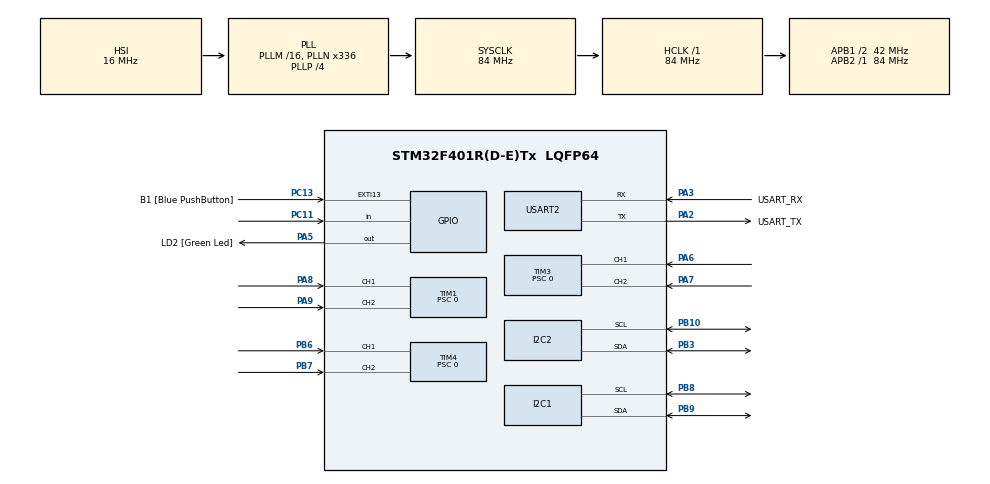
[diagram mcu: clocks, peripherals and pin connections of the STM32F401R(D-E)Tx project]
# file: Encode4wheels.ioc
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Mcu.Family=STM32F4
Mcu.Name=STM32F401R(D-E)Tx
Mcu.Package=LQFP64
NVIC.PriorityGroup=NVIC_PRIORITYGROUP_0
NVIC.TIM1_CC_IRQn=true\:0\:0\:false\:false\:true\:true\:true\:true
NVIC.TIM3_IRQn=true\:0\:0\:false\:false\:true\:true\:true\:true
NVIC.TIM4_IRQn=true\:0\:0\:false\:false\:true\:true\:true\:true
PA0-WKUP.Signal=S_TIM2_CH1_ETR
PA1.Signal=S_TIM2_CH2
PA13.GPIO_Label=TMS
PA13.Mode=Serial_Wire
PA13.Signal=SYS_JTMS-SWDIO
PA14.GPIO_Label=TCK
PA14.Mode=Serial_Wire
PA14.Signal=SYS_JTCK-SWCLK
PA2.GPIO_Label=USART_TX
PA2.GPIO_Mode=GPIO_MODE_AF_PP
PA2.GPIO_PuPd=GPIO_NOPULL
PA2.GPIO_Speed=GPIO_SPEED_FREQ_LOW
PA2.Mode=Asynchronous
PA2.Signal=USART2_TX
PA3.GPIO_Label=USART_RX
PA3.GPIO_Mode=GPIO_MODE_AF_PP
PA3.GPIO_PuPd=GPIO_NOPULL
PA3.GPIO_Speed=GPIO_SPEED_FREQ_LOW
PA3.Mode=Asynchronous
PA3.Signal=USART2_RX
PA5.GPIO_Label=LD2 [Green Led]
PA5.GPIO_Mode=GPIO_MODE_OUTPUT_PP
PA5.GPIO_PuPd=GPIO_NOPULL
PA5.GPIO_Speed=GPIO_SPEED_FREQ_LOW
PA5.Signal=GPIO_Output
PA6.Signal=S_TIM3_CH1
PA7.Signal=S_TIM3_CH2
PA8.Signal=S_TIM1_CH1
PA9.Signal=S_TIM1_CH2
PB10.GPIO_Pu=GPIO_PULLUP
PB10.Mode=I2C
PB10.Signal=I2C2_SCL
PB3.GPIO_Pu=GPIO_PULLUP
PB3.Mode=I2C
PB3.Signal=I2C2_SDA
PB6.Signal=S_TIM4_CH1
PB7.Signal=S_TIM4_CH2
PB8.GPIO_Pu=GPIO_NOPULL
PB8.Mode=I2C
PB8.Signal=I2C1_SCL
PB9.GPIO_Pu=GPIO_PULLUP
PB9.Mode=I2C
PB9.Signal=I2C1_SDA
PC11.Signal=GPIO_Input
PC13-ANTI_TAMP.GPIO_Label=B1 [Blue PushButton]
PC13-ANTI_TAMP.GPIO_ModeDefaultEXTI=GPIO_MODE_IT_FALLING
PC13-ANTI_TAMP.GPIO_PuPd=GPIO_NOPULL
PC13-ANTI_TAMP.Signal=GPXTI13
PC14-OSC32_IN.Mode=LSE-External-Oscillator
PC14-OSC32_IN.Signal=RCC_OSC32_IN
PC15-OSC32_OUT.Mode=LSE-External-Oscillator
PC15-OSC32_OUT.Signal=RCC_OSC32_OUT
PH0\ -\ OSC_IN.Mode=HSE-External-Clock-Source
PH0\ -\ OSC_IN.Signal=RCC_OSC_IN
PH1\ -\ OSC_OUT.Mode=HSE-External-Clock-Source
PH1\ -\ OSC_OUT.Signal=RCC_OSC_OUT
ProjectManager.HeapSize=0x200
ProjectManager.StackSize=0x400
ProjectManager.TargetToolchain=STM32CubeIDE
RCC.48MHZClocksFreq_Value=48000000
RCC.AHBFreq_Value=84000000
RCC.APB1CLKDivider=RCC_HCLK_DIV2
RCC.APB1Freq_Value=42000000
RCC.APB1TimFreq_Value=84000000
RCC.APB2Freq_Value=84000000
RCC.APB2TimFreq_Value=84000000
RCC.CortexFreq_Value=84000000
RCC.HCLKFreq_Value=84000000
RCC.HSE_VALUE=8000000
RCC.HSI_VALUE=16000000
RCC.PLLN=336
RCC.PLLP=RCC_PLLP_DIV4
RCC.PLLQ=7
RCC.SYSCLKFreq_VALUE=84000000
RCC.SYSCLKSource=RCC_SYSCLKSOURCE_PLLCLK
RCC.VCOOutputFreq_Value=336000000
SH.S_TIM1_CH1.0=TIM1_CH1,Encoder_Interface
SH.S_TIM1_CH2.0=TIM1_CH2,Encoder_Interface
SH.S_TIM2_CH1_ETR.0=TIM2_CH1
SH.S_TIM2_CH2.0=TIM2_CH2
SH.S_TIM3_CH1.0=TIM3_CH1,Encoder_Interface
SH.S_TIM3_CH2.0=TIM3_CH2,Encoder_Interface
SH.S_TIM4_CH1.0=TIM4_CH1,Encoder_Interface
SH.S_TIM4_CH2.0=TIM4_CH2,Encoder_Interface
TIM1.CounterMode=TIM_COUNTERMODE_UP
TIM1.EncoderMode=TIM_ENCODERMODE_TI12
TIM1.Prescaler=0
TIM3.EncoderMode=TIM_ENCODERMODE_TI12
TIM3.Prescaler=0
TIM4.EncoderMode=TIM_ENCODERMODE_TI12
TIM4.Prescaler=0
USART2.VirtualMode=VM_ASYNC
board=NUCLEO-F401RE

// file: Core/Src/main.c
/* USER CODE BEGIN Header */
/**
  ******************************************************************************
  * @file           : main.c
  * @brief          : Main program body
  ******************************************************************************
  * @attention
  *
  * Copyright (c) 2024 STMicroelectronics.
  * All rights reserved.k
  *
  * This software is licensed under terms that can be found in the LICENSE file
  * in the root directory of this software component.
  * If no LICENSE file comes with this software, it is provided AS-IS.ll
  *
  ******************************************************************************
  */
/* USER CODE END Header */
#include "main.h"

/* USER CODE BEGIN Includes */
#include <stdio.h>
#include <stdlib.h>
#include "encoder.h"
#include "mpu.h"
/* USER CODE END Includes */
#include "odometry.h"
/* USER CODE BEGIN PTD */
Odometry_t robot;
/* USER CODE END PTD */

I2C_HandleTypeDef hi2c1;
I2C_HandleTypeDef hi2c2;

TIM_HandleTypeDef htim1;
TIM_HandleTypeDef htim3;
TIM_HandleTypeDef htim4;

UART_HandleTypeDef huart2;

void SystemClock_Config(void);
static void MX_GPIO_Init(void);
static void MX_USART2_UART_Init(void);
static void MX_TIM1_Init(void);
static void MX_TIM3_Init(void);
static void MX_TIM4_Init(void);
static void MX_I2C1_Init(void);
static void MX_I2C2_Init(void);
/* USER CODE BEGIN PFP */
#ifdef __GNUC__
#define PUTCHAR_PROTOTYPE int __io_putchar(int ch)
#else
#define PUTCHAR_PROTOTYPE int fputc(int ch, FILE *f)
#endif
/*
 Note that the UART handle must be changed from &huart? to the handle of the desired UART peripheral (e.g., &huart2).
 Since we using USART2 change that to &huart2
*/
PUTCHAR_PROTOTYPE
{
  HAL_UART_Transmit(&huart2, (uint8_t *)&ch, 1, HAL_MAX_DELAY);
  return ch;
}
/* USER CODE END PFP */

int main(void)
{

  /* MCU Configuration--------------------------------------------------------*/

  /* Reset of all peripherals, Initializes the Flash interface and the Systick. */
  HAL_Init();

  /* Configure the system clock */
  SystemClock_Config();

  /* Initialize all configured peripherals */
  MX_GPIO_Init();
  MX_USART2_UART_Init();
  MX_TIM1_Init();
  MX_TIM3_Init();
  MX_TIM4_Init();
  MX_I2C1_Init();
  MX_I2C2_Init();
  /* USER CODE BEGIN 2 */
  HAL_TIM_Encoder_Start_IT(&htim3, TIM_CHANNEL_ALL);
  HAL_TIM_Encoder_Start_IT(&htim4, TIM_CHANNEL_ALL);
  HAL_TIM_Encoder_Start_IT(&htim1, TIM_CHANNEL_ALL);

  /* Initialize MPU6050 once */
  MPU6050_Init();
  /* USER CODE END 2 */
  Odometry_Init(&robot);
  /* Infinite loop */
  /* USER CODE BEGIN WHILE */
  while (1)
  {

	      // 3. Small delay to prevent I2C bus congestion
	      HAL_Delay(10);
    /* USER CODE END WHILE */

    /* USER CODE BEGIN 3 */
    printf("Pulse(1): %d | Pulse(2): %d | Pulse(3): %d | Pulse(4): %d\r\n",
           encoder1.counter, encoder2.counter, encoder3.counter, encoder4.counter);

    /* Read MPU6050 Z angle (degrees) */
    float angle = MPU6050_GYRO_READ();
    printf("Angle Z: %.2f\r\n", angle);

    HAL_Delay(10);
    float current_angle_deg = MPU6050_GYRO_READ();

        /* 2. Update Odometry using your defined encoder variables */
        // encoder1 is Forward, encoder3 is Lateral
        Odometry_Update(&robot, encoder3.counter, encoder4.counter, current_angle_deg);

        /* 3. Print for debugging */
        printf("X: %.3f Y: %.3f Head: %.1f deg\r\n", robot.x, robot.y, current_angle_deg);

        HAL_Delay(10);
  }
  /* USER CODE END 3 */
}

void SystemClock_Config(void)
{
  RCC_OscInitTypeDef RCC_OscInitStruct = {0};
  RCC_ClkInitTypeDef RCC_ClkInitStruct = {0};

  /** Configure the main internal regulator output voltage
  */
  __HAL_RCC_PWR_CLK_ENABLE();
  __HAL_PWR_VOLTAGESCALING_CONFIG(PWR_REGULATOR_VOLTAGE_SCALE2);

  /** Initializes the RCC Oscillators according to the specified parameters
  * in the RCC_OscInitTypeDef structure.
  */
  RCC_OscInitStruct.OscillatorType = RCC_OSCILLATORTYPE_HSI;
  RCC_OscInitStruct.HSIState = RCC_HSI_ON;
  RCC_OscInitStruct.HSICalibrationValue = RCC_HSICALIBRATION_DEFAULT;
  RCC_OscInitStruct.PLL.PLLState = RCC_PLL_ON;
  RCC_OscInitStruct.PLL.PLLSource = RCC_PLLSOURCE_HSI;
  RCC_OscInitStruct.PLL.PLLM = 16;
  RCC_OscInitStruct.PLL.PLLN = 336;
  RCC_OscInitStruct.PLL.PLLP = RCC_PLLP_DIV4;
  RCC_OscInitStruct.PLL.PLLQ = 7;
  if (HAL_RCC_OscConfig(&RCC_OscInitStruct) != HAL_OK)
  {
    Error_Handler();
  }

  /** Initializes the CPU, AHB and APB buses clocks
  */
  RCC_ClkInitStruct.ClockType = RCC_CLOCKTYPE_HCLK|RCC_CLOCKTYPE_SYSCLK
                              |RCC_CLOCKTYPE_PCLK1|RCC_CLOCKTYPE_PCLK2;
  RCC_ClkInitStruct.SYSCLKSource = RCC_SYSCLKSOURCE_PLLCLK;
  RCC_ClkInitStruct.AHBCLKDivider = RCC_SYSCLK_DIV1;
  RCC_ClkInitStruct.APB1CLKDivider = RCC_HCLK_DIV2;
  RCC_ClkInitStruct.APB2CLKDivider = RCC_HCLK_DIV1;

  if (HAL_RCC_ClockConfig(&RCC_ClkInitStruct, FLASH_LATENCY_2) != HAL_OK)
  {
    Error_Handler();
  }
}

static void MX_I2C1_Init(void)
{

  hi2c1.Instance = I2C1;
  hi2c1.Init.ClockSpeed = 100000;
  hi2c1.Init.DutyCycle = I2C_DUTYCYCLE_2;
  hi2c1.Init.OwnAddress1 = 0;
  hi2c1.Init.AddressingMode = I2C_ADDRESSINGMODE_7BIT;
  hi2c1.Init.DualAddressMode = I2C_DUALADDRESS_DISABLE;
  hi2c1.Init.OwnAddress2 = 0;
  hi2c1.Init.GeneralCallMode = I2C_GENERALCALL_DISABLE;
  hi2c1.Init.NoStretchMode = I2C_NOSTRETCH_DISABLE;
  if (HAL_I2C_Init(&hi2c1) != HAL_OK)
  {
    Error_Handler();
  }

}

static void MX_I2C2_Init(void)
{

  hi2c2.Instance = I2C2;
  hi2c2.Init.ClockSpeed = 100000;
  hi2c2.Init.DutyCycle = I2C_DUTYCYCLE_2;
  hi2c2.Init.OwnAddress1 = 0;
  hi2c2.Init.AddressingMode = I2C_ADDRESSINGMODE_7BIT;
  hi2c2.Init.DualAddressMode = I2C_DUALADDRESS_DISABLE;
  hi2c2.Init.OwnAddress2 = 0;
  hi2c2.Init.GeneralCallMode = I2C_GENERALCALL_DISABLE;
  hi2c2.Init.NoStretchMode = I2C_NOSTRETCH_DISABLE;
  if (HAL_I2C_Init(&hi2c2) != HAL_OK)
  {
    Error_Handler();
  }

}

static void MX_TIM1_Init(void)
{

  TIM_Encoder_InitTypeDef sConfig = {0};
  TIM_MasterConfigTypeDef sMasterConfig = {0};

  htim1.Instance = TIM1;
  htim1.Init.Prescaler = 0;
  htim1.Init.CounterMode = TIM_COUNTERMODE_UP;
  htim1.Init.Period = 65535;
  htim1.Init.ClockDivision = TIM_CLOCKDIVISION_DIV1;
  htim1.Init.RepetitionCounter = 0;
  htim1.Init.AutoReloadPreload = TIM_AUTORELOAD_PRELOAD_DISABLE;
  sConfig.EncoderMode = TIM_ENCODERMODE_TI12;
  sConfig.IC1Polarity = TIM_ICPOLARITY_RISING;
  sConfig.IC1Selection = TIM_ICSELECTION_DIRECTTI;
  sConfig.IC1Prescaler = TIM_ICPSC_DIV1;
  sConfig.IC1Filter = 0;
  sConfig.IC2Polarity = TIM_ICPOLARITY_RISING;
  sConfig.IC2Selection = TIM_ICSELECTION_DIRECTTI;
  sConfig.IC2Prescaler = TIM_ICPSC_DIV1;
  sConfig.IC2Filter = 0;
  if (HAL_TIM_Encoder_Init(&htim1, &sConfig) != HAL_OK)
  {
    Error_Handler();
  }
  sMasterConfig.MasterOutputTrigger = TIM_TRGO_RESET;
  sMasterConfig.MasterSlaveMode = TIM_MASTERSLAVEMODE_DISABLE;
  if (HAL_TIMEx_MasterConfigSynchronization(&htim1, &sMasterConfig) != HAL_OK)
  {
    Error_Handler();
  }

}

static void MX_TIM3_Init(void)
{

  TIM_Encoder_InitTypeDef sConfig = {0};
  TIM_MasterConfigTypeDef sMasterConfig = {0};

  htim3.Instance = TIM3;
  htim3.Init.Prescaler = 0;
  htim3.Init.CounterMode = TIM_COUNTERMODE_UP;
  htim3.Init.Period = 65535;
  htim3.Init.ClockDivision = TIM_CLOCKDIVISION_DIV1;
  htim3.Init.AutoReloadPreload = TIM_AUTORELOAD_PRELOAD_DISABLE;
  sConfig.EncoderMode = TIM_ENCODERMODE_TI12;
  sConfig.IC1Polarity = TIM_ICPOLARITY_RISING;
  sConfig.IC1Selection = TIM_ICSELECTION_DIRECTTI;
  sConfig.IC1Prescaler = TIM_ICPSC_DIV1;
  sConfig.IC1Filter = 0;
  sConfig.IC2Polarity = TIM_ICPOLARITY_RISING;
  sConfig.IC2Selection = TIM_ICSELECTION_DIRECTTI;
  sConfig.IC2Prescaler = TIM_ICPSC_DIV1;
  sConfig.IC2Filter = 0;
  if (HAL_TIM_Encoder_Init(&htim3, &sConfig) != HAL_OK)
  {
    Error_Handler();
  }
  sMasterConfig.MasterOutputTrigger = TIM_TRGO_RESET;
  sMasterConfig.MasterSlaveMode = TIM_MASTERSLAVEMODE_DISABLE;
  if (HAL_TIMEx_MasterConfigSynchronization(&htim3, &sMasterConfig) != HAL_OK)
  {
    Error_Handler();
  }

}

static void MX_TIM4_Init(void)
{

  TIM_Encoder_InitTypeDef sConfig = {0};
  TIM_MasterConfigTypeDef sMasterConfig = {0};

  htim4.Instance = TIM4;
  htim4.Init.Prescaler = 0;
  htim4.Init.CounterMode = TIM_COUNTERMODE_UP;
  htim4.Init.Period = 65535;
  htim4.Init.ClockDivision = TIM_CLOCKDIVISION_DIV1;
  htim4.Init.AutoReloadPreload = TIM_AUTORELOAD_PRELOAD_DISABLE;
  sConfig.EncoderMode = TIM_ENCODERMODE_TI12;
  sConfig.IC1Polarity = TIM_ICPOLARITY_RISING;
  sConfig.IC1Selection = TIM_ICSELECTION_DIRECTTI;
  sConfig.IC1Prescaler = TIM_ICPSC_DIV1;
  sConfig.IC1Filter = 0;
  sConfig.IC2Polarity = TIM_ICPOLARITY_RISING;
  sConfig.IC2Selection = TIM_ICSELECTION_DIRECTTI;
  sConfig.IC2Prescaler = TIM_ICPSC_DIV1;
  sConfig.IC2Filter = 0;
  if (HAL_TIM_Encoder_Init(&htim4, &sConfig) != HAL_OK)
  {
    Error_Handler();
  }
  sMasterConfig.MasterOutputTrigger = TIM_TRGO_RESET;
  sMasterConfig.MasterSlaveMode = TIM_MASTERSLAVEMODE_DISABLE;
  if (HAL_TIMEx_MasterConfigSynchronization(&htim4, &sMasterConfig) != HAL_OK)
  {
    Error_Handler();
  }

}

static void MX_USART2_UART_Init(void)
{

  huart2.Instance = USART2;
  huart2.Init.BaudRate = 115200;
  huart2.Init.WordLength = UART_WORDLENGTH_8B;
  huart2.Init.StopBits = UART_STOPBITS_1;
  huart2.Init.Parity = UART_PARITY_NONE;
  huart2.Init.Mode = UART_MODE_TX_RX;
  huart2.Init.HwFlowCtl = UART_HWCONTROL_NONE;
  huart2.Init.OverSampling = UART_OVERSAMPLING_16;
  if (HAL_UART_Init(&huart2) != HAL_OK)
  {
    Error_Handler();
  }

}

static void MX_GPIO_Init(void)
{
  GPIO_InitTypeDef GPIO_InitStruct = {0};

  /* GPIO Ports Clock Enable */
  __HAL_RCC_GPIOC_CLK_ENABLE();
  __HAL_RCC_GPIOH_CLK_ENABLE();
  __HAL_RCC_GPIOA_CLK_ENABLE();
  __HAL_RCC_GPIOB_CLK_ENABLE();

  /*Configure GPIO pin Output Level */
  HAL_GPIO_WritePin(LD2_GPIO_Port, LD2_Pin, GPIO_PIN_RESET);

  /*Configure GPIO pin : B1_Pin */
  GPIO_InitStruct.Pin = B1_Pin;
  GPIO_InitStruct.Mode = GPIO_MODE_IT_FALLING;
  GPIO_InitStruct.Pull = GPIO_NOPULL;
  HAL_GPIO_Init(B1_GPIO_Port, &GPIO_InitStruct);

  /*Configure GPIO pins : PA0 PA1 */
  GPIO_InitStruct.Pin = GPIO_PIN_0|GPIO_PIN_1;
  GPIO_InitStruct.Mode = GPIO_MODE_AF_PP;
  GPIO_InitStruct.Pull = GPIO_NOPULL;
  GPIO_InitStruct.Speed = GPIO_SPEED_FREQ_LOW;
  GPIO_InitStruct.Alternate = GPIO_AF1_TIM2;
  HAL_GPIO_Init(GPIOA, &GPIO_InitStruct);

  /*Configure GPIO pin : LD2_Pin */
  GPIO_InitStruct.Pin = LD2_Pin;
  GPIO_InitStruct.Mode = GPIO_MODE_OUTPUT_PP;
  GPIO_InitStruct.Pull = GPIO_NOPULL;
  GPIO_InitStruct.Speed = GPIO_SPEED_FREQ_LOW;
  HAL_GPIO_Init(LD2_GPIO_Port, &GPIO_InitStruct);

  /*Configure GPIO pin : PC11 */
  GPIO_InitStruct.Pin = GPIO_PIN_11;
  GPIO_InitStruct.Mode = GPIO_MODE_INPUT;
  GPIO_InitStruct.Pull = GPIO_NOPULL;
  HAL_GPIO_Init(GPIOC, &GPIO_InitStruct);

}

void Error_Handler(void)
{
  __disable_irq();
  while (1)
  {
  }
}
